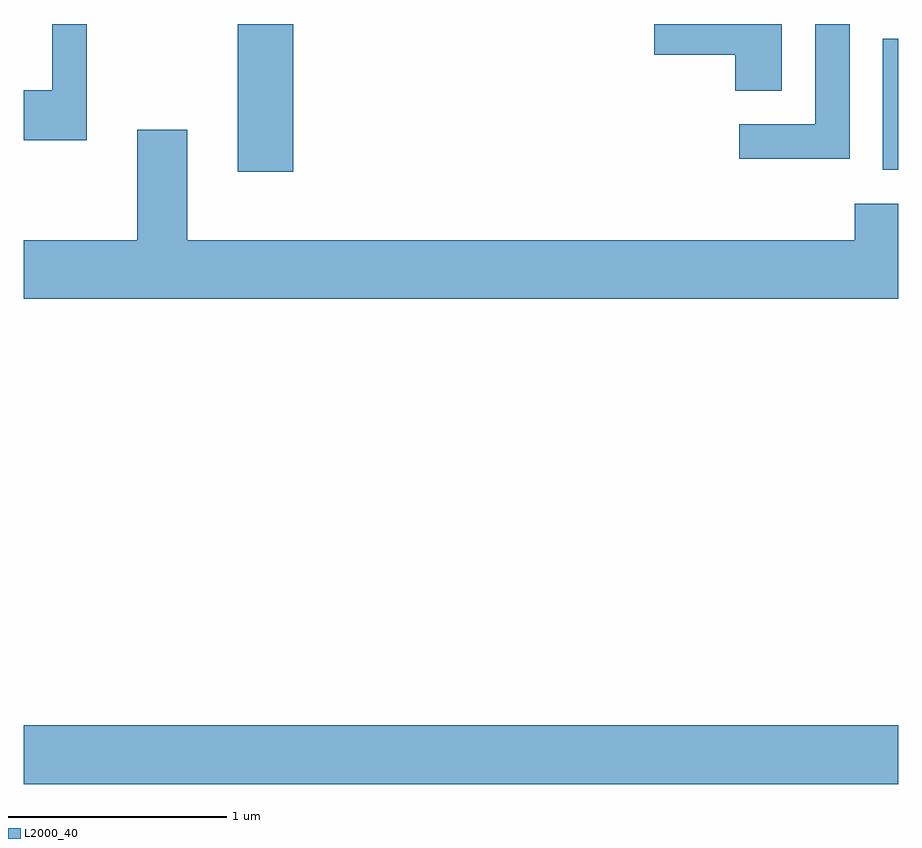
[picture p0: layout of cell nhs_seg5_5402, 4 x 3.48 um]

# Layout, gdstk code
import gdstk
lib = gdstk.Library(unit=1e-6, precision=1e-09)
def R(c, l, rs):  # rectangles x0, y0, x1, y1
    for r in rs: c.add(gdstk.rectangle(r[:2], r[2:], *l))
def P(c, l, *ps):  # polygons
    for p in ps: c.add(gdstk.Polygon(p, *l))
L2000_40 = (2000, 40)

nhs_seg5_5402 = lib.new_cell('nhs_seg5_5402')
R(nhs_seg5_5402, L2000_40, [(345.611,1434.596,349.611,1434.864), (346.591,1437.396,346.844,1438.072), (349.541,1437.406,349.611,1438.004)])
P(nhs_seg5_5402, L2000_40, [(345.899,1438.072),(345.741,1438.072),(345.741,1437.769),(345.611,1437.769),(345.611,1437.541),(345.899,1437.541)],
  [(349.389,1438.072),(349.231,1438.072),(349.231,1437.614),(348.883,1437.614),(348.883,1437.456),(349.389,1437.456)],
  [(349.079,1438.072),(348.496,1438.072),(348.496,1437.931),(348.866,1437.931),(348.866,1437.766),(349.079,1437.766)],
  [(349.611,1437.249),(349.411,1437.249),(349.411,1437.084),(346.359,1437.084),(346.359,1437.589),(346.131,1437.589),(346.131,1437.084),(345.611,1437.084),(345.611,1436.816),(349.611,1436.816)])

lib.write_gds('nhs_seg5_5402.gds')
